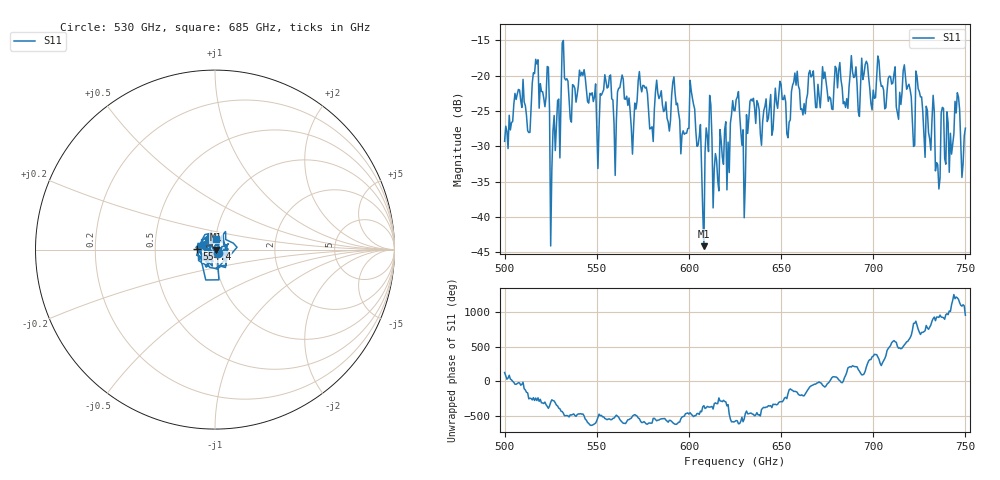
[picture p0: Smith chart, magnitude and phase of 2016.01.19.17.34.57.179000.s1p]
!Created with skrf (http://scikit-rf.org).
# GHz S RI R 50.0
!freq ReS11 ImS11
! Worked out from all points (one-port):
!   401 points, 500 GHz to 750 GHz, reference 50 ohm
!   lowest |S11| = -44.1 dB at 608.1 GHz (marker M1), VSWR 1.01, Z = 50.6 + j0.0344 ohm
!   |S11| at or under -10 dB: start of sweep to end of sweep
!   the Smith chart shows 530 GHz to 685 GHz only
!   S11 on the Smith chart (normalised r, x): 530 GHz: 1.04, -0.04; 554.4 GHz: 0.82, +0.01; 685 GHz: 1.01, +0.12
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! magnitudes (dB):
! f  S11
! 500 GHz  -29.3
! 506.9 GHz  -22.6
! 513.1 GHz  -28.1
! 516.9 GHz  -17.7
! 523.1 GHz  -18.7
! 526.2 GHz  -27.8
! 530 GHz  -31.6
! 531.2 GHz  -15.4
! 551.2 GHz  -27.3
! 554.4 GHz  -19.9
! 559.4 GHz  -26.8
! 562.5 GHz  -21.7
! 569.4 GHz  -31.1
! 593.8 GHz  -23.9
! 601.9 GHz  -23.2
! 608.1 GHz  -44.1
! 610.6 GHz  -30.7
! 614.4 GHz  -31.0
! 625 GHz  -25.0
! 629.4 GHz  -27.7
! 634.4 GHz  -23.6
! 656.2 GHz  -21.4
! 685 GHz  -24.5
! 687.5 GHz  -19.8
! 718.8 GHz  -21.5
! 735 GHz  -32.6
! 745.6 GHz  -22.4
! 750 GHz  -27.4
